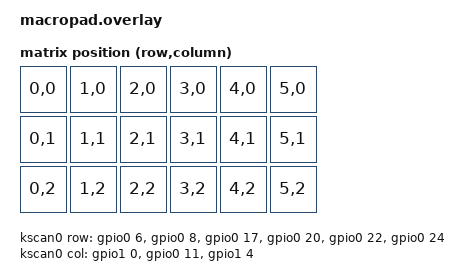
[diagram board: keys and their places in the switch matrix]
#include <dt-bindings/gpio/gpio.h>
#include <dt-bindings/zmk/matrix_transform.h>
#include <physical_layouts.dtsi>

/ {
    chosen {
        zmk,kscan = &kscan0;
        zmk,physical-layout = &physical_layout;
    };

    kscan0: kscan {
        compatible = "zmk,kscan-gpio-matrix";
        diode-direction = "col2row";

        col-gpios = <&gpio1 0 GPIO_ACTIVE_HIGH>,
                    <&gpio0 11 GPIO_ACTIVE_HIGH>,
                    <&gpio1 4 GPIO_ACTIVE_HIGH>;

        row-gpios = <&gpio0 6 (GPIO_ACTIVE_HIGH | GPIO_PULL_DOWN)>,
                    <&gpio0 8 (GPIO_ACTIVE_HIGH | GPIO_PULL_DOWN)>,
                    <&gpio0 17 (GPIO_ACTIVE_HIGH | GPIO_PULL_DOWN)>,
                    <&gpio0 20 (GPIO_ACTIVE_HIGH | GPIO_PULL_DOWN)>,
                    <&gpio0 22 (GPIO_ACTIVE_HIGH | GPIO_PULL_DOWN)>,
                    <&gpio0 24 (GPIO_ACTIVE_HIGH | GPIO_PULL_DOWN)>;
    };

    transform: transform {
        compatible = "zmk,matrix-transform";
        rows = <3>;
        columns = <6>;
        map = <
            RC(0,0) RC(1,0) RC(2,0) RC(3,0) RC(4,0) RC(5,0)
            RC(0,1) RC(1,1) RC(2,1) RC(3,1) RC(4,1) RC(5,1)
            RC(0,2) RC(1,2) RC(2,2) RC(3,2) RC(4,2) RC(5,2)
        >;
    };

    physical_layout: physical_layout {
        compatible = "zmk,physical-layout";
        display-name = "Macropad 3x5";
        transform = <&transform>;

        keys  //                     w   h    x    y   rot  rx  ry
            = <&key_physical_attrs 100 100    0    0     0   0   0>
            , <&key_physical_attrs 100 100  100    0     0   0   0>
            , <&key_physical_attrs 100 100  200    0     0   0   0>
            , <&key_physical_attrs 100 100  300    0     0   0   0>
            , <&key_physical_attrs 100 100  400    0     0   0   0>
            , <&key_physical_attrs 100 100  500    0     0   0   0>
            , <&key_physical_attrs 100 100    0  100     0   0   0>
            , <&key_physical_attrs 100 100  100  100     0   0   0>
            , <&key_physical_attrs 100 100  200  100     0   0   0>
            , <&key_physical_attrs 100 100  300  100     0   0   0>
            , <&key_physical_attrs 100 100  400  100     0   0   0>
            , <&key_physical_attrs 100 100  500  100     0   0   0>
            , <&key_physical_attrs 100 100    0  200     0   0   0>
            , <&key_physical_attrs 100 100  100  200     0   0   0>
            , <&key_physical_attrs 100 100  200  200     0   0   0>
            , <&key_physical_attrs 100 100  300  200     0   0   0>
            , <&key_physical_attrs 100 100  400  200     0   0   0>
            , <&key_physical_attrs 100 100  500  200     0   0   0>
            ;
    };
};
